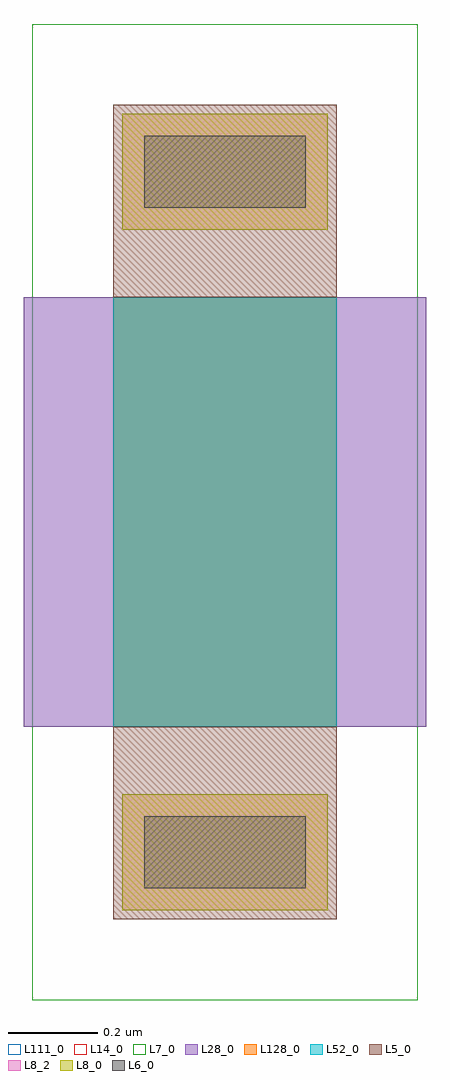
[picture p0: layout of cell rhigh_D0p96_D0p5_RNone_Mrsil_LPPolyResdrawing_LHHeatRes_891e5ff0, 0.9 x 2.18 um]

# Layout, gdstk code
import gdstk
lib = gdstk.Library(unit=1e-6, precision=1e-09)
def R(c, l, rs):  # rectangles x0, y0, x1, y1
    for r in rs: c.add(gdstk.rectangle(r[:2], r[2:], *l))
L5_0 = (5, 0)
L6_0 = (6, 0)
L7_0 = (7, 0)
L8_0 = (8, 0)
L8_2 = (8, 2)
L14_0 = (14, 0)
L28_0 = (28, 0)
L52_0 = (52, 0)
L111_0 = (111, 0)
L128_0 = (128, 0)

rectangle_gdsfactorypcom = lib.new_cell('rectangle_gdsfactorypcomponentspshapesprectangle_S0p5_0_2ac947e4')
R(rectangle_gdsfactorypcom, L128_0, [(0,0,0.5,0.96)])

c_rectangle_gdsfactorypcom = lib.new_cell('rectangle_gdsfactorypcomponentspshapesprectangle_S0p5_0_e409e79b')
R(c_rectangle_gdsfactorypcom, L52_0, [(0,0,0.5,0.96)])

c_rectangle_gdsfactorypcom_ = lib.new_cell('rectangle_gdsfactorypcomponentspshapesprectangle_S0p5_0_0861799f')
R(c_rectangle_gdsfactorypcom_, L5_0, [(0,0,0.5,0.43)])

c_rectangle_gdsfactorypcom__ = lib.new_cell('rectangle_gdsfactorypcomponentspshapesprectangle_S0p36__cc771b56')
R(c_rectangle_gdsfactorypcom__, L6_0, [(0,0,0.36,0.16)])

c_rectangle_gdsfactorypcom___ = lib.new_cell('rectangle_gdsfactorypcomponentspshapesprectangle_S0p46__0c3aa280')
R(c_rectangle_gdsfactorypcom___, L8_2, [(0,0,0.46,0.26)])

c_rectangle_gdsfactorypcom____ = lib.new_cell('rectangle_gdsfactorypcomponentspshapesprectangle_S0p46__c5e398a1')
R(c_rectangle_gdsfactorypcom____, L8_0, [(0,0,0.46,0.26)])

c_rectangle_gdsfactorypcom_____ = lib.new_cell('rectangle_gdsfactorypcomponentspshapesprectangle_S0p86__16bf438a')
R(c_rectangle_gdsfactorypcom_____, L111_0, [(0,0,0.86,2.18)])

c_rectangle_gdsfactorypcom______ = lib.new_cell('rectangle_gdsfactorypcomponentspshapesprectangle_S0p86__3ae95b40')
R(c_rectangle_gdsfactorypcom______, L14_0, [(0,0,0.86,2.18)])

c_rectangle_gdsfactorypcom_______ = lib.new_cell('rectangle_gdsfactorypcomponentspshapesprectangle_S0p86__4992bb38')
R(c_rectangle_gdsfactorypcom_______, L7_0, [(0,0,0.86,2.18)])

c_rectangle_gdsfactorypcom________ = lib.new_cell('rectangle_gdsfactorypcomponentspshapesprectangle_S0p9_0_70bec09f')
R(c_rectangle_gdsfactorypcom________, L111_0, [(0,0,0.9,0.96)])

c_rectangle_gdsfactorypcom_________ = lib.new_cell('rectangle_gdsfactorypcomponentspshapesprectangle_S0p9_0_30eb1728')
R(c_rectangle_gdsfactorypcom_________, L28_0, [(0,0,0.9,0.96)])

rhigh_d0p96_d0p5_rnone_m = lib.new_cell('rhigh_D0p96_D0p5_RNone_Mrsil_LPPolyResdrawing_LHHeatRes_891e5ff0')
rhigh_d0p96_d0p5_rnone_m.add(gdstk.Reference(rectangle_gdsfactorypcom, (0,0)))
rhigh_d0p96_d0p5_rnone_m.add(gdstk.Reference(c_rectangle_gdsfactorypcom, (0,0)))
rhigh_d0p96_d0p5_rnone_m.add(gdstk.Reference(c_rectangle_gdsfactorypcom_, (0,0.96)))
rhigh_d0p96_d0p5_rnone_m.add(gdstk.Reference(c_rectangle_gdsfactorypcom_, (0,-0.43)))
rhigh_d0p96_d0p5_rnone_m.add(gdstk.Reference(c_rectangle_gdsfactorypcom__, (0.07,1.16)))
rhigh_d0p96_d0p5_rnone_m.add(gdstk.Reference(c_rectangle_gdsfactorypcom__, (0.07,-0.36)))
rhigh_d0p96_d0p5_rnone_m.add(gdstk.Reference(c_rectangle_gdsfactorypcom___, (0.02,1.11)))
rhigh_d0p96_d0p5_rnone_m.add(gdstk.Reference(c_rectangle_gdsfactorypcom___, (0.02,-0.41)))
rhigh_d0p96_d0p5_rnone_m.add(gdstk.Reference(c_rectangle_gdsfactorypcom____, (0.02,1.11)))
rhigh_d0p96_d0p5_rnone_m.add(gdstk.Reference(c_rectangle_gdsfactorypcom____, (0.02,-0.41)))
rhigh_d0p96_d0p5_rnone_m.add(gdstk.Reference(c_rectangle_gdsfactorypcom_____, (-0.18,-0.61)))
rhigh_d0p96_d0p5_rnone_m.add(gdstk.Reference(c_rectangle_gdsfactorypcom______, (-0.18,-0.61)))
rhigh_d0p96_d0p5_rnone_m.add(gdstk.Reference(c_rectangle_gdsfactorypcom_______, (-0.18,-0.61)))
rhigh_d0p96_d0p5_rnone_m.add(gdstk.Reference(c_rectangle_gdsfactorypcom________, (-0.2,0)))
rhigh_d0p96_d0p5_rnone_m.add(gdstk.Reference(c_rectangle_gdsfactorypcom_________, (-0.2,0)))

lib.write_gds('rhigh_D0p96_D0p5_RNone_Mrsil_LPPolyResdrawing_LHHeatRes_891e5ff0.gds')
